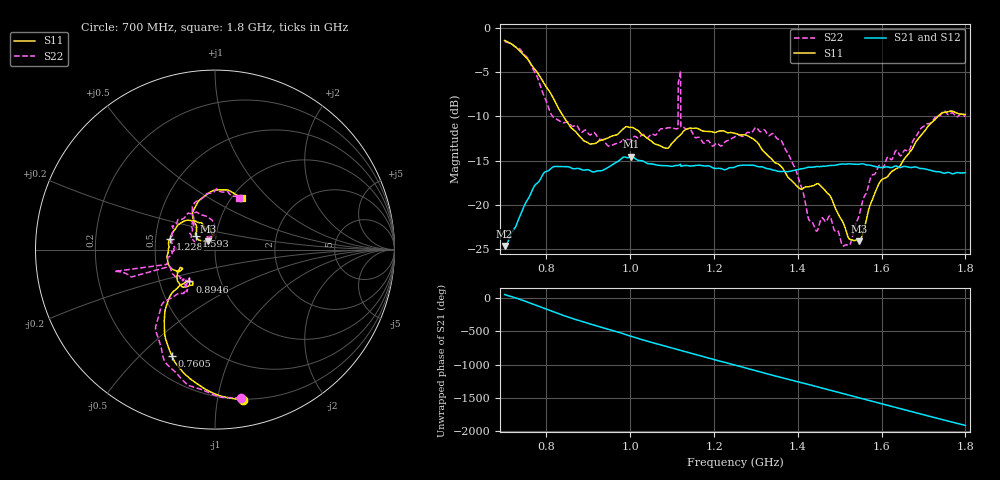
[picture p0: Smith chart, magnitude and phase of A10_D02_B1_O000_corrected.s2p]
! Created with skrf 1.9.0 (http://scikit-rf.org).
# Hz S RI R 50.0
!freq ReS11 ImS11 ReS21 ImS21 ReS12 ImS12 ReS22 ImS22
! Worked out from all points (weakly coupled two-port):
!   1601 points, 700 MHz to 1.8 GHz, reference 50 ohm
!   highest |S21| = -14.58 dB at 1.002 GHz (marker M1); lowest = -24.7 dB at 700 MHz (marker M2)
!   lowest |S11| = -24.1 dB at 1.547 GHz (marker M3), VSWR 1.13, Z = 45.9 + j4.35 ohm
!   |S11| at or under -10 dB: 840.2 MHz to 1.734 GHz (893.8 MHz wide, 69.4 % of centre)
!   |S22| runs from -24.7 to -1.5 dB; largest |S21 - S12| = 0.0035
!   S11 on the Smith chart (normalised r, x): 700 MHz: 0.20, -1.19; 760.5 MHz: 0.31, -0.62; 894.6 MHz: 0.71, -0.26; 1.228 GHz: 0.59, +0.08; 1.593 GHz: 0.80, +0.13; 1.8 GHz: 1.12, +0.71
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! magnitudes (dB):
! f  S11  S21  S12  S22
! 700 MHz  -1.4  -24.7  -24.5  -1.5
! 760.5 MHz  -3.9  -19.0  -18.8  -3.9
! 814.1 MHz  -7.8  -15.8  -15.8  -10.0
! 883.6 MHz  -12.5  -16.0  -15.9  -11.8
! 894.6 MHz  -12.9  -16.0  -16.1  -11.6
! 1.002 GHz  -11.2  -14.6  -14.7  -12.6
! 1.067 GHz  -13.2  -15.5  -15.5  -11.7
! 1.108 GHz  -12.6  -15.5  -15.6  -11.4
! 1.115 GHz  -12.3  -15.5  -15.6  -6.2
! 1.12 GHz  -12.1  -15.4  -15.3  -4.8
! 1.126 GHz  -11.7  -15.6  -15.6  -11.2
! 1.228 GHz  -11.8  -16.0  -15.9  -12.8
! 1.25 GHz  -11.9  -15.7  -15.7  -12.3
! 1.359 GHz  -15.6  -16.2  -16.2  -12.7
! 1.434 GHz  -17.9  -15.8  -15.7  -21.9
! 1.476 GHz  -18.9  -15.6  -15.6  -21.3
! 1.519 GHz  -23.5  -15.4  -15.4  -24.6
! 1.547 GHz  -24.1  -15.4  -15.4  -21.1
! 1.593 GHz  -17.7  -15.8  -15.7  -15.6
! 1.617 GHz  -16.7  -15.7  -15.7  -14.6
! 1.739 GHz  -9.8  -16.3  -16.3  -10.0
! 1.8 GHz  -9.8  -16.4  -16.4  -10.0
